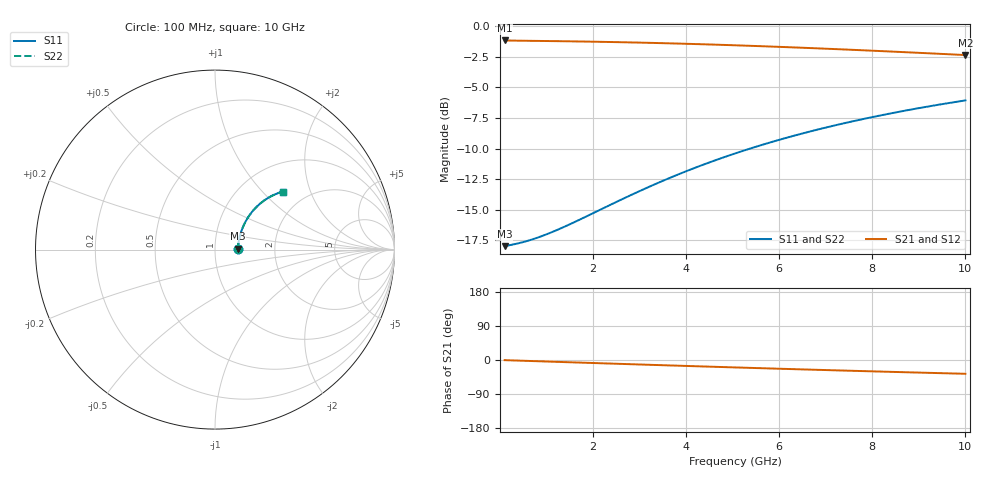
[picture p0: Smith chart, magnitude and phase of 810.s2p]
# Hz S RI R 50.00
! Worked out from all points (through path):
!   100 points, 100 MHz to 10 GHz, reference 50 ohm
!   highest |S21| = -1.17 dB at 100 MHz (marker M1); lowest = -2.4 dB at 10 GHz (marker M2)
!   group delay of S21, straight-line fit = 10.1 ps
!   lowest |S11| = -18.0 dB at 100 MHz (marker M3), VSWR 1.29, Z = 64.4 + j0.633 ohm
!   |S11| at or under -10 dB: start of sweep to 5.38 GHz
!   |S22| runs from -18.0 to -6.1 dB; largest |S21 - S12| = 0
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1e8  0.1261 0.00484  0.8739 -0.0061  0.8739 -0.0061  0.1261 0.00484
3e8  0.1276 0.0145  0.8724 -0.0183  0.8724 -0.0183  0.1276 0.0145
5e8  0.1289 0.024  0.8711 -0.0304  0.8711 -0.0304  0.1289 0.024
7e8  0.1303 0.0336  0.8697 -0.0424  0.8697 -0.0424  0.1303 0.0336
9e8  0.1319 0.043  0.8681 -0.0544  0.8681 -0.0544  0.1319 0.043
1.1e9  0.1336 0.0525  0.8663 -0.0664  0.8663 -0.0664  0.1336 0.0525
1.3e9  0.1355 0.0618  0.8643 -0.0783  0.8643 -0.0783  0.1355 0.0618
1.8e9  0.1414 0.0849  0.8583 -0.1077  0.8583 -0.1077  0.1414 0.0849
2.7e9  0.1554 0.1248  0.844 -0.159  0.844 -0.159  0.1554 0.1248
3.4e9  0.1693 0.1542  0.8297 -0.1973  0.8297 -0.1973  0.1693 0.1542
3.8e9  0.1783 0.1701  0.8204 -0.2183  0.8204 -0.2183  0.1783 0.1701
4.2e9  0.1881 0.1855  0.8104 -0.2388  0.8104 -0.2388  0.1881 0.1855
4.6e9  0.1985 0.2001  0.7997 -0.2585  0.7997 -0.2585  0.1985 0.2001
5.1e9  0.2124 0.2174  0.7853 -0.2822  0.7853 -0.2822  0.2124 0.2174
5.5e9  0.2242 0.2304  0.7732 -0.3003  0.7732 -0.3003  0.2242 0.2304
5.9e9  0.2365 0.2427  0.7605 -0.3177  0.7605 -0.3177  0.2365 0.2427
6.3e9  0.2492 0.2541  0.7474 -0.3343  0.7474 -0.3343  0.2492 0.2541
6.7e9  0.2622 0.2648  0.7339 -0.3501  0.7339 -0.3501  0.2622 0.2648
7.5e9  0.2893 0.2838  0.7058 -0.3795  0.7058 -0.3795  0.2893 0.2838
8.4e9  0.3208 0.3014  0.6731 -0.4087  0.6731 -0.4087  0.3208 0.3014
9.2e9  0.3492 0.3138  0.6434 -0.4316  0.6434 -0.4316  0.3492 0.3138
1e10  0.3777 0.3233  0.6135 -0.4516  0.6135 -0.4516  0.3777 0.3233
